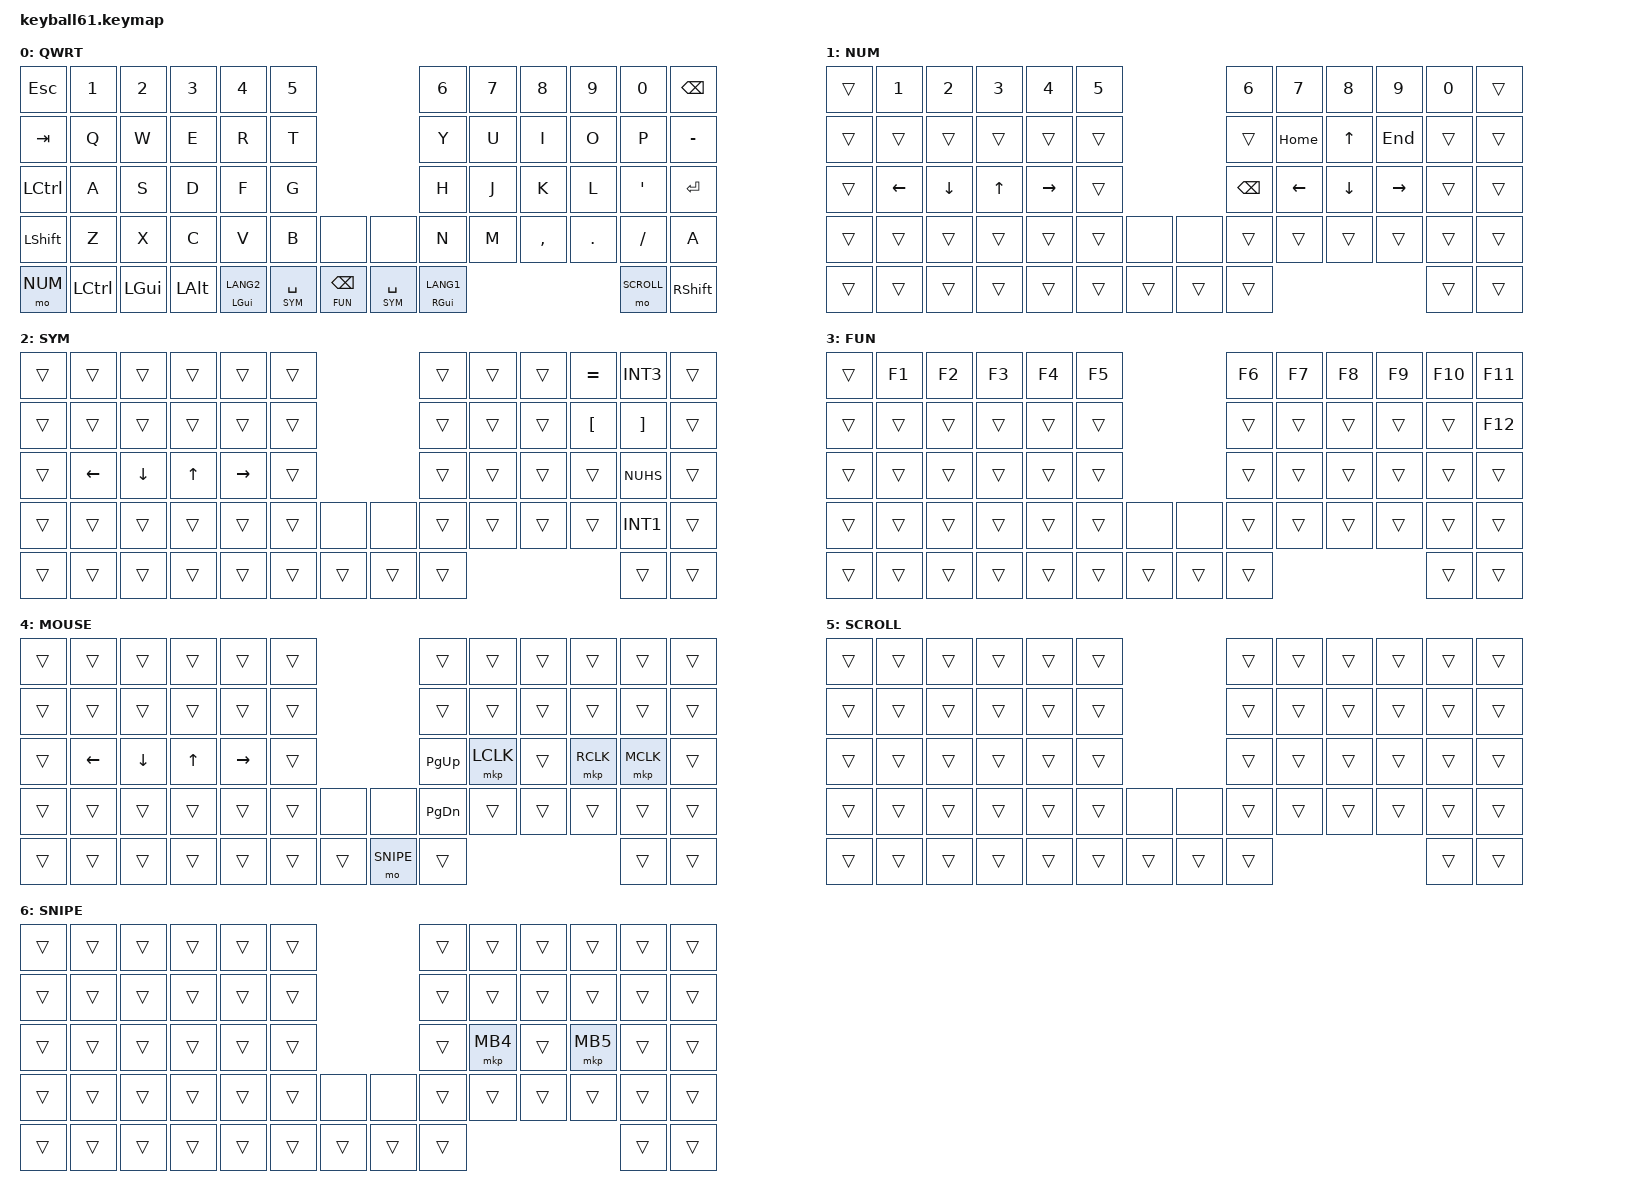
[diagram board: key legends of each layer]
#define DEFAULT 0
#define NUM     1
#define SYM     2
#define FUN     3
#define MOUSE   4
#define SCROLL  5
#define SNIPE   6

#include <behaviors/mouse_keys.dtsi>
#include <dt-bindings/zmk/mouse.h>
#include <behaviors.dtsi>
#include <dt-bindings/zmk/bt.h>
#include <dt-bindings/zmk/keys.h>
#include <dt-bindings/zmk/pointing.h>

&lt {
    tapping-term-ms = <240>;
    flavor = "balanced";
    quick-tap-ms = <150>;
};

&mt {
    tapping-term-ms = <200>;
    flavor = "tap-preferred";
    quick-tap-ms = <150>;
};

/ {
    keymap {
        compatible = "zmk,keymap";

        default_layer {
            label = "QWRT";
            bindings = <
&kp ESC     &kp N1     &kp N2     &kp N3     &kp N4          &kp N5                                        &kp N6          &kp N7  &kp N8     &kp N9   &kp N0      &kp BSPC
&kp TAB     &kp Q      &kp W      &kp E      &kp R           &kp T                                         &kp Y           &kp U   &kp I      &kp O    &kp P       &kp MINUS
&kp LCTRL   &kp A      &kp S      &kp D      &kp F           &kp G                                         &kp H           &kp J   &kp K      &kp L    &kp SQT     &kp ENTER
&kp LSHIFT  &kp Z      &kp X      &kp C      &kp V           &kp B          &none         &none            &kp N           &kp M   &kp COMMA  &kp DOT  &kp FSLH    &kp A
&mo NUM     &kp LCTRL  &kp LGUI   &kp LALT   &mt LGUI LANG2  &lt SYM SPACE  &lt FUN BSPC  &lt SYM SPACE    &mt RGUI LANG1                              &mo SCROLL  &kp RSHIFT
            >;
        };

        number_layer {
            label = "NUM";
            bindings = <
&trans  &kp N1     &kp N2     &kp N3   &kp N4      &kp N5                  &kp N6     &kp N7        &kp N8        &kp N9     &kp N0  &trans
&trans  &trans     &trans     &trans   &trans      &trans                  &trans     &kp HOME      &kp UP        &kp END    &trans  &trans
&trans  &kp LEFT   &kp DOWN   &kp UP   &kp RIGHT   &trans                  &kp BSPC   &kp LEFT      &kp DOWN      &kp RIGHT  &trans  &trans
&trans  &trans     &trans     &trans   &trans      &trans  &none  &none    &trans     &trans        &trans        &trans     &trans  &trans
&trans  &trans     &trans     &trans   &trans      &trans  &trans          &trans     &trans                                &trans  &trans
            >;
        };

        symbol_layer {
            label = "SYM";
            bindings = <
&trans  &trans    &trans    &trans   &trans     &trans                  &trans  &trans  &trans  &kp EQUAL  &kp INT3   &trans
&trans  &trans    &trans    &trans   &trans     &trans                  &trans  &trans  &trans  &kp LBKT   &kp RBKT   &trans
&trans  &kp LEFT  &kp DOWN  &kp UP   &kp RIGHT  &trans                  &trans  &trans  &trans  &trans     &kp NUHS   &trans
&trans  &trans    &trans    &trans   &trans     &trans  &none  &none    &trans  &trans  &trans  &trans     &kp INT1   &trans
&trans  &trans    &trans    &trans   &trans     &trans  &trans          &trans  &trans                                &trans  &trans
            >;
        };

        function_layer {
            label = "FUN";
            bindings = <
&trans  &kp F1   &kp F2   &kp F3   &kp F4   &kp F5                  &kp F6   &kp F7   &kp F8   &kp F9   &kp F10  &kp F11
&trans  &trans   &trans   &trans   &trans   &trans                  &trans   &trans   &trans   &trans   &trans   &kp F12
&trans  &trans   &trans   &trans   &trans   &trans                  &trans   &trans   &trans   &trans   &trans   &trans
&trans  &trans   &trans   &trans   &trans   &trans  &none  &none    &trans   &trans   &trans   &trans   &trans   &trans
&trans  &trans   &trans   &trans   &trans   &trans  &trans          &trans   &trans                             &trans  &trans
            >;
        };

        mouse_layer {
            label = "MOUSE";
            bindings = <
&trans  &trans    &trans    &trans  &trans     &trans                       &trans         &trans     &trans  &trans     &trans     &trans
&trans  &trans    &trans    &trans  &trans     &trans                       &trans         &trans     &trans  &trans     &trans     &trans
&trans  &kp LEFT  &kp DOWN  &kp UP  &kp RIGHT  &trans                       &kp PAGE_UP    &mkp LCLK  &trans  &mkp RCLK  &mkp MCLK  &trans
&trans  &trans    &trans    &trans  &trans     &trans  &none      &none        &kp PAGE_DOWN  &trans     &trans  &trans     &trans     &trans
&trans  &trans    &trans    &trans  &trans     &trans  &trans     &mo SNIPE    &trans                                              &trans  &trans
            >;
        };

        scroll_layer {
            label = "SCROLL";
            bindings = <
&trans  &trans  &trans  &trans  &trans  &trans                  &trans  &trans  &trans  &trans  &trans  &trans
&trans  &trans  &trans  &trans  &trans  &trans                  &trans  &trans  &trans  &trans  &trans  &trans
&trans  &trans  &trans  &trans  &trans  &trans                  &trans  &trans  &trans  &trans  &trans  &trans
&trans  &trans  &trans  &trans  &trans  &trans  &none  &none    &trans  &trans  &trans  &trans  &trans  &trans
&trans  &trans  &trans  &trans  &trans  &trans  &trans          &trans  &trans                          &trans  &trans
            >;
        };

        snipe_layer {
            label = "SNIPE";
            bindings = <
&trans  &trans  &trans  &trans  &trans  &trans                  &trans  &trans     &trans  &trans     &trans  &trans
&trans  &trans  &trans  &trans  &trans  &trans                  &trans  &trans     &trans  &trans     &trans  &trans
&trans  &trans  &trans  &trans  &trans  &trans                  &trans  &mkp MB4   &trans  &mkp MB5   &trans  &trans
&trans  &trans  &trans  &trans  &trans  &trans  &none  &none    &trans  &trans     &trans  &trans     &trans  &trans
&trans  &trans  &trans  &trans  &trans  &trans  &trans          &trans  &trans                                &trans  &trans
            >;
        };
    };
};
